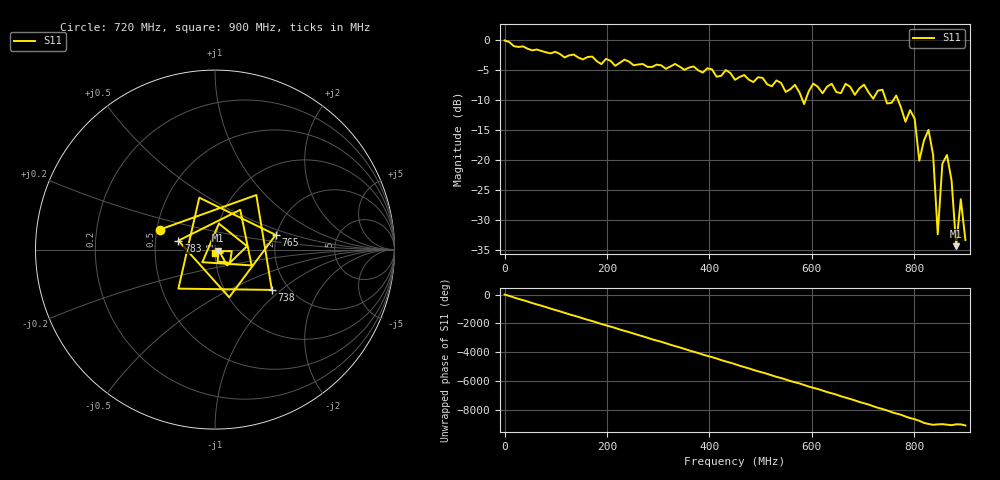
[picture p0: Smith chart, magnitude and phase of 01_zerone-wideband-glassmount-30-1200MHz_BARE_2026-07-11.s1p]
! Antenna S11 sweep  |  Zer one wideband glass-mount scanner antenna, rated 30-1200MHz. Tested BARE (whip on bench, NOT coupled on glass) - low-band figures not representative. Whip self-resonance 800-900MHz.
! Device: NanoVNA-H fw1.2.44  |  cal 50kHz-900MHz  |  101 points
# Hz S RI R 50
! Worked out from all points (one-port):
!   101 points, 50 kHz to 900 MHz, reference 50 ohm
!   lowest |S11| = -34.3 dB at 882 MHz (marker M1), VSWR 1.04, Z = 51.9 - j0.593 ohm
!   |S11| at or under -10 dB: 582.2 MHz to 587.6 MHz (5.371 MHz wide, 0.918 % of centre); 745 MHz to 758.9 MHz (13.89 MHz wide, 1.85 % of centre); 768.8 MHz to end of sweep
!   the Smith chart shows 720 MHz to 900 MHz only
!   S11 on the Smith chart (normalised r, x): 720 MHz: 0.52, +0.13; 738 MHz: 1.64, -0.87; 765 MHz: 1.97, +0.37; 783 MHz: 0.66, +0.07; 900 MHz: 0.99, -0.04
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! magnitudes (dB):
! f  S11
! 50 kHz  0.0
! 117 MHz  -2.8
! 225 MHz  -3.7
! 342 MHz  -4.4
! 450 MHz  -6.6
! 567 MHz  -7.4
! 585 MHz  -10.6
! 603 MHz  -7.2
! 621 MHz  -8.8
! 675 MHz  -7.7
! 702 MHz  -7.4
! 720 MHz  -9.7
! 738 MHz  -8.2
! 747 MHz  -10.5
! 765 MHz  -9.2
! 783 MHz  -13.6
! 792 MHz  -11.6
! 801 MHz  -13.1
! 810 MHz  -20.0
! 828 MHz  -14.9
! 837 MHz  -19.1
! 846 MHz  -32.3
! 855 MHz  -20.5
! 864 MHz  -19.1
! 873 MHz  -23.3
! 882 MHz  -34.3
! 891 MHz  -26.5
! 900 MHz  -33.3
